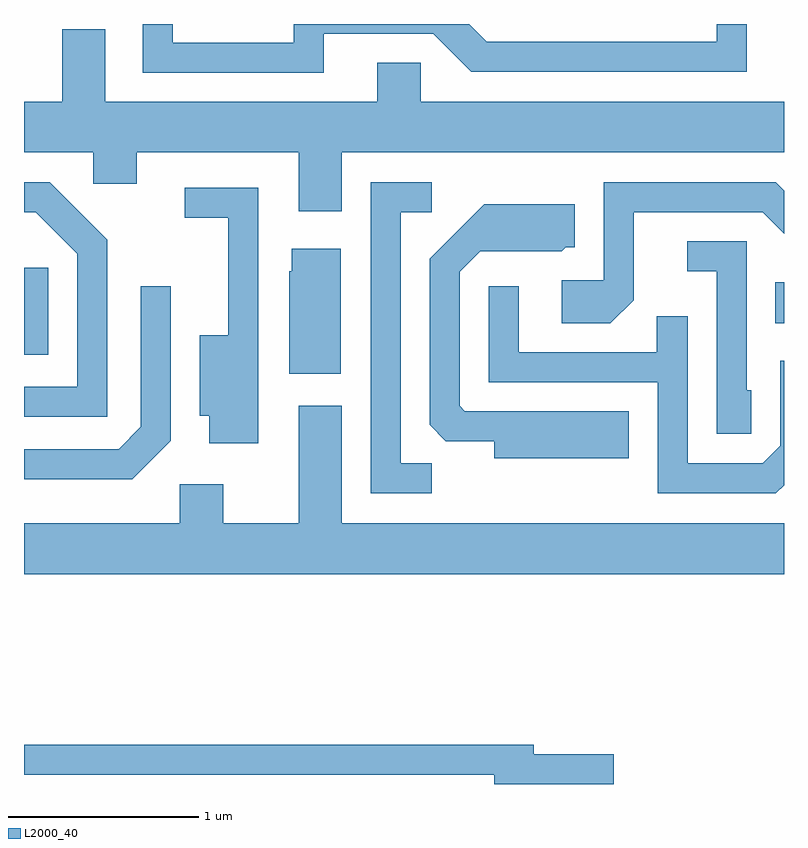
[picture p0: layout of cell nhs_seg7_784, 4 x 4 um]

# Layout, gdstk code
import gdstk
lib = gdstk.Library(unit=1e-6, precision=1e-09)
def R(c, l, rs):  # rectangles x0, y0, x1, y1
    for r in rs: c.add(gdstk.rectangle(r[:2], r[2:], *l))
def P(c, l, *ps):  # polygons
    for p in ps: c.add(gdstk.Polygon(p, *l))
L2000_40 = (2000, 40)

nhs_seg7_784 = lib.new_cell('nhs_seg7_784')
R(nhs_seg7_784, L2000_40, [(207.611,1786.511,207.739,1786.969), (211.566,1786.676,211.611,1786.894)])
P(nhs_seg7_784, L2000_40, [(209.189,1788.201),(209.764,1788.201),(209.964,1788.001),(211.414,1788.001),(211.414,1788.252),(211.256,1788.252),(211.256,1788.159),(210.047,1788.159),(209.954,1788.252),(209.031,1788.252),(209.031,1788.154),(208.394,1788.154),(208.394,1788.252),(208.236,1788.252),(208.236,1787.996),(209.189,1787.996)],
  [(209.284,1787.576),(211.611,1787.576),(211.611,1787.844),(209.699,1787.844),(209.699,1788.049),(209.471,1788.049),(209.471,1787.844),(208.039,1787.844),(208.039,1788.224),(207.811,1788.224),(207.811,1787.844),(207.611,1787.844),(207.611,1787.576),(207.976,1787.576),(207.976,1787.411),(208.204,1787.411),(208.204,1787.576),(209.056,1787.576),(209.056,1787.266),(209.284,1787.266)],
  [(209.758,1785.939),(209.594,1785.939),(209.594,1787.261),(209.758,1787.261),(209.758,1787.419),(209.436,1787.419),(209.436,1785.781),(209.758,1785.781)],
  [(208.049,1787.117),(207.747,1787.419),(207.611,1787.419),(207.611,1787.261),(207.674,1787.261),(207.891,1787.044),(207.891,1786.344),(207.611,1786.344),(207.611,1786.186),(208.049,1786.186)],
  [(210.819,1786.799),(210.819,1787.261),(211.499,1787.261),(211.611,1787.149),(211.611,1787.375),(211.567,1787.419),(210.661,1787.419),(210.661,1786.904),(210.441,1786.904),(210.441,1786.676),(210.697,1786.676)],
  [(208.844,1787.389),(208.458,1787.389),(208.458,1787.231),(208.686,1787.231),(208.686,1786.614),(208.536,1786.614),(208.536,1786.191),(208.586,1786.191),(208.586,1786.046),(208.844,1786.046)],
  [(210.794,1786.214),(209.932,1786.214),(209.904,1786.242),(209.904,1786.949),(210.012,1787.056),(210.442,1787.056),(210.462,1787.076),(210.509,1787.076),(210.509,1787.304),(210.034,1787.304),(209.746,1787.017),(209.746,1786.142),(209.832,1786.056),(210.086,1786.056),(210.086,1785.966),(210.794,1785.966)],
  [(211.439,1786.324),(211.414,1786.324),(211.414,1787.109),(211.103,1787.109),(211.103,1786.951),(211.256,1786.951),(211.256,1786.096),(211.439,1786.096)],
  [(209.279,1787.069),(209.021,1787.069),(209.021,1786.95),(209.006,1786.95),(209.006,1786.411),(209.279,1786.411)],
  [(211.611,1785.825),(211.611,1786.479),(211.591,1786.479),(211.591,1786.032),(211.499,1785.939),(211.104,1785.939),(211.104,1786.713),(210.941,1786.713),(210.941,1786.524),(210.214,1786.524),(210.214,1786.873),(210.056,1786.873),(210.056,1786.366),(210.946,1786.366),(210.946,1785.781),(211.567,1785.781)],
  [(208.384,1786.059),(208.384,1786.873),(208.226,1786.873),(208.226,1786.132),(208.109,1786.014),(207.611,1786.014),(207.611,1785.856),(208.182,1785.856)],
  [(211.611,1785.624),(209.284,1785.624),(209.284,1786.244),(209.056,1786.244),(209.056,1785.624),(208.659,1785.624),(208.659,1785.829),(208.431,1785.829),(208.431,1785.624),(207.611,1785.624),(207.611,1785.356),(211.611,1785.356)],
  [(210.714,1784.409),(210.294,1784.409),(210.294,1784.459),(207.611,1784.459),(207.611,1784.301),(210.086,1784.301),(210.086,1784.252),(210.714,1784.252)])

lib.write_gds('nhs_seg7_784.gds')
